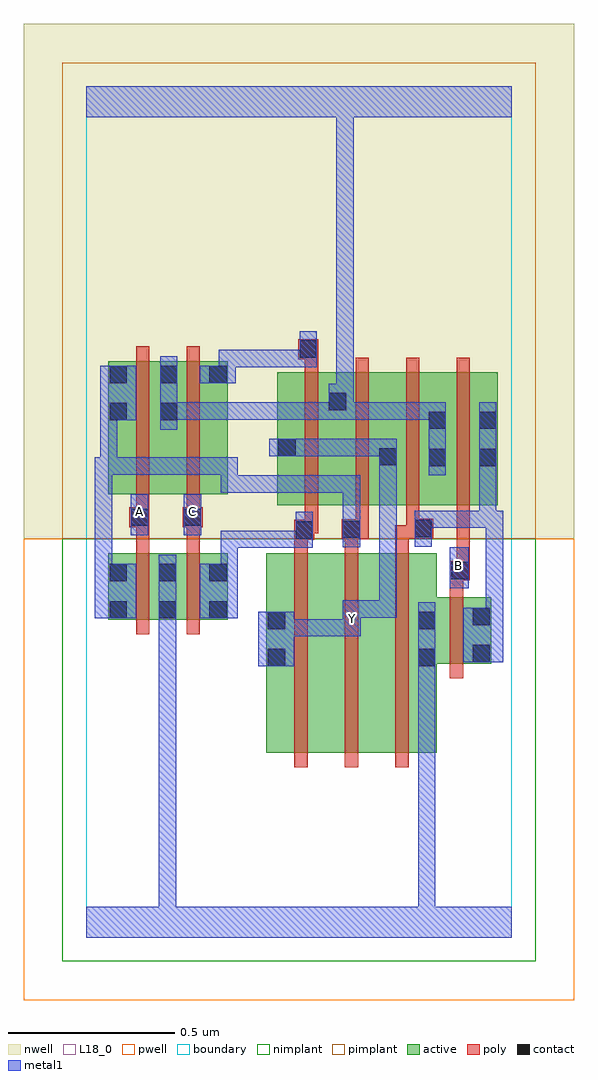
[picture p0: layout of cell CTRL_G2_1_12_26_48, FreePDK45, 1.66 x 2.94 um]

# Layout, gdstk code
import gdstk
lib = gdstk.Library(unit=1e-6, precision=1e-09)
def R(c, l, rs):  # rectangles x0, y0, x1, y1
    for r in rs: c.add(gdstk.rectangle(r[:2], r[2:], *l))
def A(c, l, x, y, w, h, nx, ny, dx, dy):  # array of equal rectangles
    R(c, l, [(x+i*dx, y+j*dy, x+i*dx+w, y+j*dy+h) for i in range(nx) for j in range(ny)])
active = (1, 0)
pwell = (2, 0)
nwell = (3, 0)
nimplant = (4, 0)
pimplant = (5, 0)
poly = (9, 0)
contact = (10, 0)
metal1 = (11, 0)
L18_0 = (18, 0)
boundary = (235, 0)

ctrl_g2_1_12_26_48 = lib.new_cell('CTRL_G2_1_12_26_48')
R(ctrl_g2_1_12_26_48, active, [(0.542,0.556,0.722,1.156), (0.542,0.556,0.602,1.156), (0.722,0.556,0.874,1.156), (0.874,0.556,1.054,1.156), (0.994,0.556,1.054,1.006), (0.994,0.824,1.218,1.024), (1.158,0.824,1.218,1.024), (0.066,0.956,0.126,1.156), (0.066,0.956,0.274,1.156), (0.214,0.956,0.426,1.156), (0.214,0.956,0.274,1.128), (0.366,0.956,0.426,1.156), (0.574,1.3,0.786,1.7), (0.574,1.3,0.634,1.644), (0.726,1.3,0.938,1.7), (0.878,1.3,1.086,1.7), (0.878,1.3,0.938,1.644), (1.026,1.3,1.238,1.7), (1.178,1.3,1.238,1.7), (0.066,1.334,0.126,1.734), (0.066,1.334,0.278,1.734), (0.218,1.334,0.426,1.734), (1.026,1.348,1.086,1.644), (0.218,1.408,0.278,1.724), (0.366,1.452,0.426,1.734), (0.726,1.472,0.786,1.644)])
R(ctrl_g2_1_12_26_48, pwell, [(-0.188,-0.188,1.468,1.2)])
R(ctrl_g2_1_12_26_48, nwell, [(-0.188,1.2,1.468,2.748)])
R(ctrl_g2_1_12_26_48, nimplant, [(-0.072,-0.072,1.352,1.2)])
R(ctrl_g2_1_12_26_48, pimplant, [(-0.072,1.2,1.352,2.632)])
A(ctrl_g2_1_12_26_48, poly, 0.626, 0.512, 0.04, 0.688, 3, 1, 0.152, 0)
A(ctrl_g2_1_12_26_48, poly, 0.658, 1.256, 0.04, 0.488, 4, 1, 0.152, 0)
R(ctrl_g2_1_12_26_48, poly, [(1.094,0.78,1.134,1.068), (0.15,0.912,0.19,1.2), (0.302,0.912,0.342,1.2), (1.094,1.028,1.134,1.114), (1.094,1.074,1.154,1.134), (1.114,1.094,1.154,1.296), (1.114,1.094,1.154,1.134), (1.114,1.094,1.154,1.134), (0.15,1.16,0.19,1.274), (0.302,1.16,0.342,1.274), (0.626,1.16,0.666,1.236), (0.778,1.16,0.818,1.238), (0.93,1.16,0.97,1.24), (0.626,1.196,0.686,1.256), (0.768,1.198,0.85,1.258), (0.778,1.198,0.818,1.238), (0.778,1.198,0.818,1.238), (0.93,1.2,1.002,1.24), (0.962,1.2,1.002,1.24), (0.962,1.2,1.044,1.26), (0.646,1.216,0.686,1.256), (0.646,1.216,0.698,1.256), (0.658,1.216,0.698,1.296), (0.81,1.218,0.85,1.296), (0.962,1.22,1.002,1.296), (0.13,1.234,0.19,1.294), (0.29,1.234,0.35,1.294), (0.15,1.254,0.19,1.294), (0.15,1.254,0.19,1.294), (0.15,1.254,0.19,1.33), (0.302,1.254,0.342,1.294), (0.302,1.254,0.342,1.294), (0.302,1.254,0.342,1.33), (0.15,1.29,0.19,1.778), (0.302,1.29,0.342,1.778), (0.658,1.704,0.698,1.78), (0.638,1.74,0.698,1.8)])
R(ctrl_g2_1_12_26_48, contact, [(0.546,0.816,0.598,0.868), (0.998,0.816,1.05,0.868), (1.162,0.828,1.214,0.88), (0.546,0.928,0.598,0.98), (0.998,0.928,1.05,0.98), (1.162,0.94,1.214,0.992), (0.07,0.96,0.122,1.012), (0.218,0.96,0.27,1.012), (0.37,0.96,0.422,1.012), (0.07,1.072,0.122,1.124), (0.218,1.072,0.27,1.124), (0.37,1.072,0.422,1.124), (1.098,1.078,1.15,1.13), (0.63,1.2,0.682,1.252), (0.772,1.202,0.824,1.254), (0.988,1.204,1.04,1.256), (0.134,1.238,0.186,1.29), (0.294,1.238,0.346,1.29), (1.03,1.418,1.082,1.47), (1.182,1.418,1.234,1.47), (0.882,1.42,0.934,1.472), (0.578,1.448,0.63,1.5), (1.03,1.53,1.082,1.582), (1.182,1.53,1.234,1.582), (0.07,1.556,0.122,1.608), (0.222,1.556,0.274,1.608), (0.73,1.586,0.782,1.638), (0.07,1.668,0.122,1.72), (0.222,1.668,0.274,1.72), (0.37,1.668,0.422,1.72), (0.642,1.744,0.694,1.796)])
R(ctrl_g2_1_12_26_48, metal1, [(0,0,1.28,0.092), (0.218,0.04,0.27,0.092), (0.218,0.04,0.27,0.092), (0.218,0.04,0.27,0.092), (0.218,0.04,0.27,0.092), (0.218,0.04,0.27,0.092), (0.218,0.04,0.27,0.092), (0.218,0.04,0.27,0.092), (0.218,0.04,0.27,0.092), (0.218,0.04,0.27,0.092), (0.218,0.04,0.27,0.092), (0.218,0.04,0.27,0.092), (0.218,0.04,0.27,0.092), (0.218,0.04,0.27,0.092), (0.218,0.04,0.27,0.092), (0.218,0.04,0.27,0.092), (0.218,0.04,0.27,0.092), (0.218,0.04,0.27,0.984), (0.998,0.04,1.05,0.092), (0.998,0.04,1.05,0.092), (0.998,0.04,1.05,0.092), (0.998,0.04,1.05,0.092), (0.998,0.04,1.05,0.84), (0.998,0.788,1.05,1.008), (0.998,0.788,1.05,0.84), (0.998,0.788,1.05,0.84), (0.998,0.788,1.05,0.84), (0.998,0.788,1.05,0.84), (0.518,0.816,0.626,0.98), (1.134,0.828,1.254,0.992), (0.574,0.906,0.626,0.958), (0.574,0.906,0.626,0.958), (0.574,0.906,0.824,0.958), (0.772,0.906,0.824,0.958), (0.772,0.906,0.824,0.958), (0.772,0.906,0.826,1.014), (0.218,0.932,0.27,1.152), (1.202,0.94,1.254,1.284), (1.202,0.94,1.254,0.992), (1.202,0.94,1.254,0.992), (0.026,0.96,0.15,1.124), (0.342,0.96,0.456,1.124), (0.774,0.962,0.826,1.014), (0.774,0.962,0.826,1.014), (0.774,0.962,0.934,1.014), (0.882,0.962,0.934,1.014), (0.882,0.962,0.934,1.444), (1.094,1.05,1.15,1.174), (0.026,1.072,0.078,1.444), (0.404,1.072,0.456,1.224), (0.404,1.172,0.456,1.224), (0.404,1.172,0.456,1.224), (0.404,1.172,0.456,1.224), (0.404,1.172,0.682,1.224), (0.63,1.172,0.682,1.28), (0.772,1.174,0.824,1.282), (0.988,1.176,1.04,1.284), (0.134,1.21,0.186,1.334), (0.294,1.21,0.346,1.334), (0.772,1.23,0.824,1.282), (0.772,1.23,0.824,1.39), (0.988,1.232,1.066,1.284), (1.014,1.232,1.066,1.284), (1.014,1.232,1.234,1.284), (1.182,1.232,1.234,1.442), (1.182,1.232,1.234,1.284), (1.182,1.232,1.234,1.284), (1.182,1.232,1.254,1.284), (0.404,1.338,0.672,1.39), (0.404,1.338,0.456,1.444), (0.62,1.338,0.672,1.39), (0.62,1.338,0.672,1.39), (0.62,1.338,0.672,1.39), (0.62,1.338,0.824,1.39), (1.03,1.39,1.082,1.61), (1.182,1.39,1.234,1.61), (0.026,1.392,0.078,1.444), (0.026,1.392,0.078,1.444), (0.026,1.392,0.094,1.444), (0.042,1.392,0.094,1.444), (0.042,1.392,0.094,1.444), (0.042,1.392,0.284,1.444), (0.042,1.392,0.094,1.608), (0.232,1.392,0.284,1.444), (0.232,1.392,0.284,1.444), (0.232,1.392,0.284,1.444), (0.232,1.392,0.456,1.444), (0.882,1.392,0.934,1.444), (0.882,1.392,0.934,1.444), (0.882,1.392,0.934,1.5), (0.55,1.448,0.658,1.5), (0.606,1.448,0.658,1.5), (0.606,1.448,0.658,1.5), (0.606,1.448,0.804,1.5), (0.752,1.448,0.804,1.5), (0.752,1.448,0.804,1.5), (0.752,1.448,0.804,1.5), (0.752,1.448,0.934,1.5), (0.222,1.528,0.274,1.748), (0.042,1.556,0.15,1.72), (0.222,1.558,0.274,1.61), (0.222,1.558,0.274,1.61), (0.222,1.558,0.456,1.61), (0.404,1.558,0.456,1.61), (0.404,1.558,0.456,1.61), (0.404,1.558,0.456,1.61), (0.404,1.558,0.566,1.61), (0.514,1.558,0.566,1.61), (0.514,1.558,0.782,1.61), (0.73,1.558,0.782,1.61), (0.73,1.558,0.782,1.61), (0.73,1.558,0.804,1.666), (0.752,1.558,0.804,1.61), (0.752,1.558,0.804,1.61), (0.752,1.558,0.936,1.61), (0.884,1.558,0.936,1.61), (0.884,1.558,0.936,1.61), (0.884,1.558,0.936,1.61), (0.884,1.558,1.082,1.61), (0.752,1.614,0.804,1.666), (0.752,1.614,0.804,1.666), (0.752,1.614,0.804,1.666), (0.752,1.614,0.804,1.666), (0.752,1.614,0.804,1.666), (0.752,1.614,0.804,1.666), (0.752,1.614,0.804,1.666), (0.752,1.614,0.804,1.666), (0.752,1.614,0.804,1.666), (0.752,1.614,0.804,1.666), (0.752,1.614,0.804,1.666), (0.752,1.614,0.804,1.666), (0.752,1.614,0.804,2.52), (0.342,1.668,0.45,1.72), (0.398,1.668,0.45,1.768), (0.398,1.716,0.45,1.768), (0.398,1.716,0.456,1.768), (0.404,1.716,0.456,1.768), (0.404,1.716,0.694,1.768), (0.642,1.716,0.694,1.824), (0,2.468,1.28,2.56), (0.752,2.468,0.804,2.52), (0.752,2.468,0.804,2.52), (0.752,2.468,0.804,2.52), (0.752,2.468,0.804,2.52)])
R(ctrl_g2_1_12_26_48, L18_0, [(0,0,1.28,0.092), (0.218,0.04,0.27,0.092), (0.218,0.04,0.27,0.092), (0.218,0.04,0.27,0.092), (0.218,0.04,0.27,0.092), (0.218,0.04,0.27,0.092), (0.218,0.04,0.27,0.092), (0.218,0.04,0.27,0.092), (0.218,0.04,0.27,0.092), (0.218,0.04,0.27,0.092), (0.218,0.04,0.27,0.092), (0.218,0.04,0.27,0.092), (0.218,0.04,0.27,0.092), (0.218,0.04,0.27,0.092), (0.218,0.04,0.27,0.092), (0.218,0.04,0.27,0.092), (0.218,0.04,0.27,0.092), (0.218,0.04,0.27,0.984), (0.998,0.04,1.05,0.092), (0.998,0.04,1.05,0.092), (0.998,0.04,1.05,0.092), (0.998,0.04,1.05,0.092), (0.998,0.04,1.05,0.84), (0.998,0.788,1.05,0.84), (0.998,0.788,1.05,0.84), (0.998,0.788,1.05,0.84), (0.998,0.788,1.05,0.84), (0.998,0.788,1.05,1.008), (0.518,0.816,0.626,0.98), (0.574,0.906,0.626,0.958), (0.574,0.906,0.626,0.958), (0.574,0.906,0.824,0.958), (0.772,0.906,0.824,0.958), (0.772,0.906,0.824,0.958), (0.772,0.906,0.826,1.014), (0.218,0.932,0.27,1.152), (0.774,0.934,0.826,0.986), (0.774,0.962,0.826,1.014), (0.774,0.962,0.826,1.014), (0.774,0.962,0.934,1.014), (0.882,0.962,0.934,1.014), (0.882,0.962,0.934,1.444), (1.094,1.05,1.15,1.174), (1.094,1.094,1.146,1.146), (0.134,1.21,0.186,1.334), (0.294,1.21,0.346,1.334), (0.134,1.254,0.186,1.306), (0.294,1.254,0.346,1.306), (1.03,1.39,1.082,1.61), (0.882,1.392,0.934,1.444), (0.882,1.392,0.934,1.444), (0.882,1.392,0.934,1.5), (0.55,1.448,0.658,1.5), (0.606,1.448,0.658,1.5), (0.606,1.448,0.658,1.5), (0.606,1.448,0.804,1.5), (0.752,1.448,0.804,1.5), (0.752,1.448,0.804,1.5), (0.752,1.448,0.804,1.5), (0.752,1.448,0.934,1.5), (0.222,1.528,0.274,1.748), (0.222,1.558,0.274,1.61), (0.222,1.558,0.274,1.61), (0.222,1.558,0.456,1.61), (0.404,1.558,0.456,1.61), (0.404,1.558,0.456,1.61), (0.404,1.558,0.456,1.61), (0.404,1.558,0.566,1.61), (0.514,1.558,0.566,1.61), (0.514,1.558,0.782,1.61), (0.73,1.558,0.782,1.61), (0.73,1.558,0.782,1.61), (0.73,1.558,0.804,1.666), (0.752,1.558,0.804,1.61), (0.752,1.558,0.804,1.61), (0.752,1.558,0.936,1.61), (0.884,1.558,0.936,1.61), (0.884,1.558,0.936,1.61), (0.884,1.558,0.936,1.61), (0.884,1.558,1.082,1.61), (0.752,1.614,0.804,1.666), (0.752,1.614,0.804,1.666), (0.752,1.614,0.804,1.666), (0.752,1.614,0.804,1.666), (0.752,1.614,0.804,1.666), (0.752,1.614,0.804,1.666), (0.752,1.614,0.804,1.666), (0.752,1.614,0.804,1.666), (0.752,1.614,0.804,1.666), (0.752,1.614,0.804,1.666), (0.752,1.614,0.804,1.666), (0.752,1.614,0.804,1.666), (0.752,1.614,0.804,2.52), (0,2.468,1.28,2.56), (0.752,2.468,0.804,2.52), (0.752,2.468,0.804,2.52), (0.752,2.468,0.804,2.52), (0.752,2.468,0.804,2.52)])
R(ctrl_g2_1_12_26_48, boundary, [(0,0,1.28,2.56)])
ctrl_g2_1_12_26_48.add(gdstk.Label('A', (0.16,1.28), layer=11, texttype=0))
ctrl_g2_1_12_26_48.add(gdstk.Label('B', (1.12,1.12), layer=11, texttype=0))
ctrl_g2_1_12_26_48.add(gdstk.Label('C', (0.32,1.28), layer=11, texttype=0))
ctrl_g2_1_12_26_48.add(gdstk.Label('Y', (0.8,0.96), layer=11, texttype=0))

lib.write_gds('CTRL_G2_1_12_26_48.gds')
